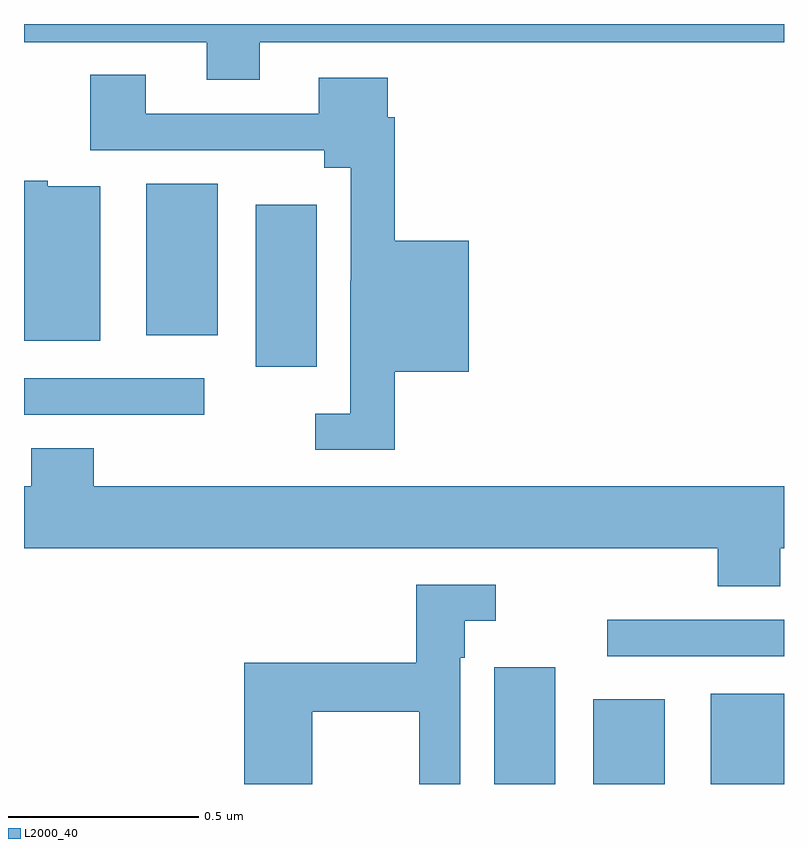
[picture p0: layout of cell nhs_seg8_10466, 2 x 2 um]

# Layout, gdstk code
import gdstk
lib = gdstk.Library(unit=1e-6, precision=1e-09)
def R(c, l, rs):  # rectangles x0, y0, x1, y1
    for r in rs: c.add(gdstk.rectangle(r[:2], r[2:], *l))
def P(c, l, *ps):  # polygons
    for p in ps: c.add(gdstk.Polygon(p, *l))
L2000_40 = (2000, 40)

nhs_seg8_10466 = lib.new_cell('nhs_seg8_10466')
R(nhs_seg8_10466, L2000_40, [(251.237,1095.9,251.398,1096.207), (251.498,1095.9,251.686,1096.123), (251.807,1095.9,252,1096.138), (251.535,1096.236,252,1096.332), (250,1096.872,250.474,1096.968), (250.61,1096.998,250.771,1097.425), (250.322,1097.081,250.51,1097.479)])
P(nhs_seg8_10466, L2000_40, [(250.621,1097.852),(252,1097.852),(252,1097.9),(250,1097.9),(250,1097.852),(250.481,1097.852),(250.481,1097.753),(250.621,1097.753)],
  [(250.976,1096.985),(251.17,1096.985),(251.17,1097.329),(250.976,1097.329),(250.976,1097.654),(250.957,1097.654),(250.957,1097.758),(250.775,1097.758),(250.775,1097.664),(250.321,1097.664),(250.321,1097.767),(250.174,1097.767),(250.174,1097.568),(250.79,1097.568),(250.79,1097.522),(250.86,1097.522),(250.86,1097.225),(250.859,1097.225),(250.859,1096.875),(250.767,1096.875),(250.767,1096.779),(250.976,1096.779)],
  [(250.201,1097.473),(250.062,1097.473),(250.062,1097.488),(250,1097.488),(250,1097.066),(250.201,1097.066)],
  [(251.99,1096.52),(252,1096.52),(252,1096.684),(250.184,1096.684),(250.184,1096.783),(250.019,1096.783),(250.019,1096.684),(250,1096.684),(250,1096.52),(251.825,1096.52),(251.825,1096.421),(251.99,1096.421)],
  [(250.758,1096.09),(251.04,1096.09),(251.04,1095.9),(251.148,1095.9),(251.148,1096.232),(251.16,1096.232),(251.16,1096.329),(251.242,1096.329),(251.242,1096.425),(251.032,1096.425),(251.032,1096.219),(250.58,1096.219),(250.58,1095.9),(250.758,1095.9)])

lib.write_gds('nhs_seg8_10466.gds')
